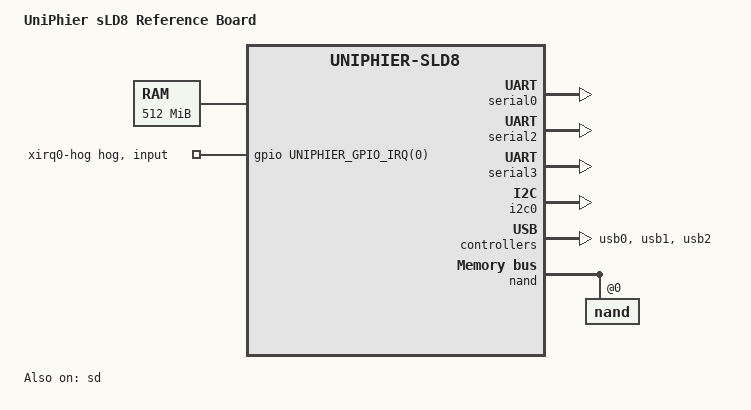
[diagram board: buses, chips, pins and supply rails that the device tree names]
// SPDX-License-Identifier: GPL-2.0+ OR MIT
//
// Device Tree Source for UniPhier sLD8 Reference Board
//
// Copyright (C) 2015-2016 Socionext Inc.
//   Author: Masahiro Yamada <yamada.masahiro@socionext.com>

/dts-v1/;
#include "uniphier-sld8.dtsi"
#include "uniphier-ref-daughter.dtsi"
#include "uniphier-support-card.dtsi"

/ {
	model = "UniPhier sLD8 Reference Board";
	compatible = "socionext,uniphier-sld8-ref", "socionext,uniphier-sld8";

	chosen {
		stdout-path = "serial0:115200n8";
	};

	aliases {
		serial0 = &serial0;
		serial1 = &serialsc;
		serial2 = &serial2;
		serial3 = &serial3;
		i2c0 = &i2c0;
		i2c1 = &i2c1;
		i2c2 = &i2c2;
		i2c3 = &i2c3;
	};

	memory@80000000 {
		device_type = "memory";
		reg = <0x80000000 0x20000000>;
	};
};

&ethsc {
	interrupts = <0 IRQ_TYPE_LEVEL_LOW>;
};

&serialsc {
	interrupts = <0 IRQ_TYPE_LEVEL_LOW>;
};

&serial0 {
	status = "okay";
};

&serial2 {
	status = "okay";
};

&serial3 {
	status = "okay";
};

&gpio {
	xirq0-hog {
		gpio-hog;
		gpios = <UNIPHIER_GPIO_IRQ(0) 0>;
		input;
	};
};

&i2c0 {
	status = "okay";
};

&sd {
	status = "okay";
};

&usb0 {
	status = "okay";
};

&usb1 {
	status = "okay";
};

&usb2 {
	status = "okay";
};

&nand {
	status = "okay";

	nand@0 {
		reg = <0>;
	};
};
